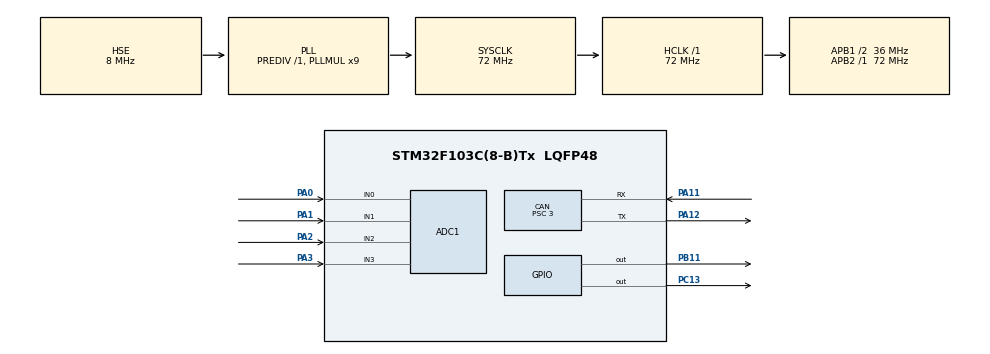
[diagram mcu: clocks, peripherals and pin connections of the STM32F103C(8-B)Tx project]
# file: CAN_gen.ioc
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ADC1.Channel-0\#ChannelRegularConversion=ADC_CHANNEL_0
ADC1.ContinuousConvMode=ENABLE
ADC1.DiscontinuousConvMode=DISABLE
ADC1.NbrOfConversion=1
ADC1.NbrOfConversionFlag=1
ADC1.Rank-0\#ChannelRegularConversion=1
ADC1.SamplingTime-0\#ChannelRegularConversion=ADC_SAMPLETIME_1CYCLE_5
ADC1.master=1
ADC2.Channel-1\#ChannelRegularConversion=ADC_CHANNEL_0
ADC2.NbrOfConversionFlag=1
ADC2.Rank-1\#ChannelRegularConversion=1
ADC2.SamplingTime-1\#ChannelRegularConversion=ADC_SAMPLETIME_1CYCLE_5
CAN.BS1=CAN_BS1_11TQ
CAN.BS2=CAN_BS2_2TQ
CAN.CalculateBaudRate=857142
CAN.CalculateTimeBit=1166
CAN.CalculateTimeQuantum=83.33333333333334
CAN.Mode=CAN_MODE_NORMAL
CAN.Prescaler=3
Mcu.Family=STM32F1
Mcu.Name=STM32F103C(8-B)Tx
Mcu.Package=LQFP48
NVIC.CAN1_RX1_IRQn=true\:0\:0\:false\:false\:true\:true\:true\:true
NVIC.CAN1_SCE_IRQn=true\:0\:0\:false\:false\:true\:true\:true\:true
NVIC.PriorityGroup=NVIC_PRIORITYGROUP_4
NVIC.USB_HP_CAN1_TX_IRQn=true\:0\:0\:false\:false\:true\:true\:true\:true
NVIC.USB_LP_CAN1_RX0_IRQn=true\:0\:0\:false\:false\:true\:true\:true\:true
PA0-WKUP.Signal=ADCx_IN0
PA1.Signal=ADCx_IN1
PA11.Mode=CAN_Activate
PA11.Signal=CAN_RX
PA12.Mode=CAN_Activate
PA12.Signal=CAN_TX
PA13.Mode=Serial_Wire
PA13.Signal=SYS_JTMS-SWDIO
PA14.Mode=Serial_Wire
PA14.Signal=SYS_JTCK-SWCLK
PA2.Signal=ADCx_IN2
PA3.Signal=ADCx_IN3
PB11.Signal=GPIO_Output
PC13-TAMPER-RTC.Signal=GPIO_Output
PD0-OSC_IN.Mode=HSE-External-Oscillator
PD0-OSC_IN.Signal=RCC_OSC_IN
PD1-OSC_OUT.Mode=HSE-External-Oscillator
PD1-OSC_OUT.Signal=RCC_OSC_OUT
ProjectManager.HeapSize=0x200
ProjectManager.StackSize=0x400
ProjectManager.TargetToolchain=STM32CubeIDE
RCC.ADCPresc=RCC_ADCPCLK2_DIV8
RCC.AHBFreq_Value=72000000
RCC.APB1CLKDivider=RCC_HCLK_DIV2
RCC.APB1Freq_Value=36000000
RCC.APB1TimFreq_Value=72000000
RCC.APB2Freq_Value=72000000
RCC.APB2TimFreq_Value=72000000
RCC.HCLKFreq_Value=72000000
RCC.PLLMUL=RCC_PLL_MUL9
RCC.PLLSourceVirtual=RCC_PLLSOURCE_HSE
RCC.SYSCLKFreq_VALUE=72000000
RCC.SYSCLKSource=RCC_SYSCLKSOURCE_PLLCLK
RCC.USBFreq_Value=72000000
SH.ADCx_IN0.0=ADC1_IN0,IN0
SH.ADCx_IN0.1=ADC2_IN0,IN0
SH.ADCx_IN1.0=ADC1_IN1,IN1
SH.ADCx_IN2.0=ADC1_IN2,IN2
SH.ADCx_IN3.0=ADC1_IN3,IN3
board=custom

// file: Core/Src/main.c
/* USER CODE BEGIN Header */
/**
  ******************************************************************************
  * @file           : main.c
  * @brief          : Main program body
  ******************************************************************************
  * @attention
  *
  * Copyright (c) 2024 STMicroelectronics.
  * All rights reserved.
  *
  * This software is licensed under terms that can be found in the LICENSE file
  * in the root directory of this software component.
  * If no LICENSE file comes with this software, it is provided AS-IS.
  *
  ******************************************************************************
  */
/* USER CODE END Header */
#include "main.h"

ADC_HandleTypeDef hadc1;
ADC_HandleTypeDef hadc2;

CAN_HandleTypeDef hcan;

/* USER CODE BEGIN PV */
CAN_TxHeaderTypeDef TxHeader;
CAN_RxHeaderTypeDef RxHeader;

uint32_t TxMailbox;
uint8_t TxData[8];
uint8_t RxData[8];

uint8_t lcd_thermistor = 1;
uint16_t msg_flag = 0x00;
int16_t adc1, adc2, adc3;
uint8_t led = 0x00;
uint8_t light_source = 0x01;
/* USER CODE END PV */

void SystemClock_Config(void);
static void MX_GPIO_Init(void);
static void MX_CAN_Init(void);
static void MX_ADC1_Init(void);
static void MX_ADC2_Init(void);
/* USER CODE BEGIN PFP */
void ADC_Select_CH0(void);
void ADC_Select_CH1(void);
void ADC_Select_CH2(void);
void ADC_Select_CH3(void);
void ADC_Read(int16_t* pValue1, int16_t* pValue2, int16_t* pValue3, int16_t* pValue4);
void ADC_Read1(int16_t* pValue1, int16_t* pValue2, int16_t* pValue3);
/* USER CODE END PFP */

int main(void)
{

  /* MCU Configuration--------------------------------------------------------*/

  /* Reset of all peripherals, Initializes the Flash interface and the Systick. */
  HAL_Init();

  /* Configure the system clock */
  SystemClock_Config();

  /* Initialize all configured peripherals */
  MX_GPIO_Init();
  MX_CAN_Init();
  MX_ADC1_Init();
  MX_ADC2_Init();
  /* USER CODE BEGIN 2 */
  CAN_FilterTypeDef canfilterconfig;

  canfilterconfig.FilterActivation = CAN_FILTER_ENABLE;
  canfilterconfig.FilterBank = 12;  // anything between 0 to SlaveStartFilterBank
  canfilterconfig.FilterFIFOAssignment = CAN_RX_FIFO0;
  //canfilterconfig.FilterIdHigh = 0x103<<5;
  canfilterconfig.FilterIdHigh = 0x0000;
  canfilterconfig.FilterIdLow = 0x0000;
  //canfilterconfig.FilterMaskIdHigh = 0x1<<13;
  canfilterconfig.FilterMaskIdHigh = 0x0;
  canfilterconfig.FilterMaskIdLow = 0x0;
  canfilterconfig.FilterMode = CAN_FILTERMODE_IDMASK;
  canfilterconfig.FilterScale = CAN_FILTERSCALE_32BIT;
  canfilterconfig.SlaveStartFilterBank = 13;  // 13 to 27 are assigned to slave CAN (CAN 2) OR 0 to 12 are assgned to CAN1

  HAL_CAN_ConfigFilter(&hcan, &canfilterconfig);
  HAL_CAN_Start(&hcan);
  HAL_CAN_ActivateNotification(
		  &hcan,
          CAN_IT_TX_MAILBOX_EMPTY |
          CAN_IT_RX_FIFO0_MSG_PENDING |
          CAN_IT_RX_FIFO0_FULL |
          CAN_IT_RX_FIFO0_OVERRUN |
          CAN_IT_RX_FIFO1_MSG_PENDING |
          CAN_IT_RX_FIFO1_FULL |
          CAN_IT_RX_FIFO1_OVERRUN |
          CAN_IT_WAKEUP |
          CAN_IT_SLEEP_ACK |
          CAN_IT_ERROR_WARNING |
          CAN_IT_ERROR_PASSIVE |
          CAN_IT_BUSOFF |
          CAN_IT_LAST_ERROR_CODE |
          CAN_IT_ERROR
  );
  /* USER CODE END 2 */

  /* Infinite loop */
  /* USER CODE BEGIN WHILE */
  //promenljive za kvazi-tajmere
  //sluze za izvrsavanje odredjenih delova koda svaki sekund bez prekidne rutine
  uint32_t now = 0, last_blink = 0, last_tx = 0;
  while (1)
  {
    /* USER CODE END WHILE */

    /* USER CODE BEGIN 3 */
	  	  now = HAL_GetTick();

	  	  if(led == 0x01) HAL_GPIO_WritePin(GPIOB, GPIO_PIN_11, GPIO_PIN_SET);
	  	  else if(led == 0x00) HAL_GPIO_WritePin(GPIOB, GPIO_PIN_11, GPIO_PIN_RESET);

	  	  if(msg_flag == 500){
	  		  //zatrezene sve analogne vrednosti i stanje diode
	  		  TxHeader.DLC = 7;
	  		  TxHeader.ExtId = 0;
	  		  TxHeader.IDE = CAN_ID_STD;
	  		  TxHeader.RTR = CAN_RTR_DATA;
	  		  TxHeader.StdId = 0x400;
	  		  TxHeader.TransmitGlobalTime = DISABLE;
	  		  TxData[0] = adc1 >> 8;
	  		  TxData[1] = adc1 & 0xFF;
	  		  TxData[2] = adc2 >> 8;
	  		  TxData[3] = adc2 & 0xFF;
	  		  TxData[4] = adc3 >> 8;
	  		  TxData[5] = adc3 & 0xFF;
	  		  TxData[6] = led;
	  		  if (HAL_CAN_AddTxMessage(&hcan, &TxHeader, TxData, &TxMailbox) != HAL_OK)
	  		  {
	  		  	Error_Handler();
	  		  }
	  		  msg_flag = 0;
	  	  }
	  	  else if(msg_flag == 501){
	  		  //zatrazena vrednost potenciometra
	  		  TxHeader.DLC = 2;
	  		  TxHeader.ExtId = 0;
	  		  TxHeader.IDE = CAN_ID_STD;
	  		  TxHeader.RTR = CAN_RTR_DATA;
	  		  TxHeader.StdId = 0x401;
	  		  TxHeader.TransmitGlobalTime = DISABLE;
	  		  TxData[0] = adc1 >> 8;
	  		  TxData[1] = adc1 & 0xFF;
	  		  if (HAL_CAN_AddTxMessage(&hcan, &TxHeader, TxData, &TxMailbox) != HAL_OK)
	  		  {
	  		  	Error_Handler();
	  		  }
	  		  msg_flag = 0;
	  	  }
	  	  else if(msg_flag == 502){
	  		  //zatrazena vrednost prvog termistora
	  		  TxHeader.DLC = 2;
	  		  TxHeader.ExtId = 0;
	  		  TxHeader.IDE = CAN_ID_STD;
	  		  TxHeader.RTR = CAN_RTR_DATA;
	  		  TxHeader.StdId = 0x402;
	  		  TxHeader.TransmitGlobalTime = DISABLE;
	  		  TxData[0] = adc2 >> 8;
	  		  TxData[1] = adc2 & 0xFF;
	  		  if (HAL_CAN_AddTxMessage(&hcan, &TxHeader, TxData, &TxMailbox) != HAL_OK)
	  		  {
	  		  	Error_Handler();
	  		  }
	  		  msg_flag = 0;
	  	  }
	  	  else if(msg_flag == 503){
	  		  //zatrazena vrednost drugog termistora
	  		  TxHeader.DLC = 2;
	  		  TxHeader.ExtId = 0;
	  		  TxHeader.IDE = CAN_ID_STD;
	  		  TxHeader.RTR = CAN_RTR_DATA;
	  		  TxHeader.StdId = 0x403;
	  		  TxHeader.TransmitGlobalTime = DISABLE;
	  		  TxData[0] = adc3 >> 8;
	  		  TxData[1] = adc3 & 0xFF;
	  		  if (HAL_CAN_AddTxMessage(&hcan, &TxHeader, TxData, &TxMailbox) != HAL_OK)
	  		  {
	  		  	Error_Handler();
	  		  }
	  		  msg_flag = 0;
	  	  }
	  	  else if(msg_flag == 504){
	  		  //zatrazeno stanje diode
	  		  TxHeader.DLC = 1;
	  		  TxHeader.ExtId = 0;
	  		  TxHeader.IDE = CAN_ID_STD;
	  		  TxHeader.RTR = CAN_RTR_DATA;
	  		  TxHeader.StdId = 0x404;
	  		  TxHeader.TransmitGlobalTime = DISABLE;
	  		  TxData[0] = led;
	  		  if (HAL_CAN_AddTxMessage(&hcan, &TxHeader, TxData, &TxMailbox) != HAL_OK)
	  		  {
	  		  	Error_Handler();
	  		  }
	  		  msg_flag = 0;
	  	  }

	  	  if (now - last_tx >= 1000) {
	  		  //poruka koja se salje svaki sekund
	  		  //salje se vrednost potenciometra jednog od 2 termistora

	  		  //ako se izvor svetlosti podesi na termistore onda se salje
	  		  //vrednost oba termistora a potenciometar se izostavlja

	  		  ADC_Read1(&adc1, &adc2, &adc3);//proveri sve ADC vrednosti

	  		  if(msg_flag == 0){
	  			  TxHeader.DLC = 4;
	  			  TxHeader.ExtId = 0;
	  			  TxHeader.IDE = CAN_ID_STD;
	  			  TxHeader.RTR = CAN_RTR_DATA;
	  			  TxHeader.StdId = 0x605;
	  			  TxHeader.TransmitGlobalTime = DISABLE;
	  			  if(light_source == 0x01){
	  				  TxData[0] = adc1 >> 8; //posalji prvih 8 bita
	  				  TxData[1] = adc1 & 0xFF; //posalji zadnjih
	  				  if(lcd_thermistor == 1){
		  				  TxData[2] = adc2 >> 8; //posalji prvih 8 bita
		  				  TxData[3] = adc2 & 0xFF; //posalji zadnjih
		  			  }
		  			  else if(lcd_thermistor == 2){
		  				  TxData[2] = adc3 >> 8; //posalji prvih 8 bita
		  				  TxData[3] = adc3 & 0xFF; //posalji zadnjih
		  			  }
	  			  }
	  			  else{
	  				  TxData[0] = adc2 >> 8; //posalji prvih 8 bita
	  				  TxData[1] = adc2 & 0xFF; //posalji zadnjih
	  				  TxData[2] = adc3 >> 8;
	  				  TxData[3] = adc3 & 0xFF;
	  			  }
	  			  if (HAL_CAN_AddTxMessage(&hcan, &TxHeader, TxData, &TxMailbox) != HAL_OK)
	  			  {
	  				  Error_Handler();
	  			  }
	  		  }

	  	      last_tx = now;
	  	  }

	  	  if (now - last_blink >= 500) {
	  		  last_blink = now;
	  	  }
	    }
  /* USER CODE END 3 */
}

void SystemClock_Config(void)
{
  RCC_OscInitTypeDef RCC_OscInitStruct = {0};
  RCC_ClkInitTypeDef RCC_ClkInitStruct = {0};
  RCC_PeriphCLKInitTypeDef PeriphClkInit = {0};

  /** Initializes the RCC Oscillators according to the specified parameters
  * in the RCC_OscInitTypeDef structure.
  */
  RCC_OscInitStruct.OscillatorType = RCC_OSCILLATORTYPE_HSE;
  RCC_OscInitStruct.HSEState = RCC_HSE_ON;
  RCC_OscInitStruct.HSEPredivValue = RCC_HSE_PREDIV_DIV1;
  RCC_OscInitStruct.HSIState = RCC_HSI_ON;
  RCC_OscInitStruct.PLL.PLLState = RCC_PLL_ON;
  RCC_OscInitStruct.PLL.PLLSource = RCC_PLLSOURCE_HSE;
  RCC_OscInitStruct.PLL.PLLMUL = RCC_PLL_MUL9;
  if (HAL_RCC_OscConfig(&RCC_OscInitStruct) != HAL_OK)
  {
    Error_Handler();
  }

  /** Initializes the CPU, AHB and APB buses clocks
  */
  RCC_ClkInitStruct.ClockType = RCC_CLOCKTYPE_HCLK|RCC_CLOCKTYPE_SYSCLK
                              |RCC_CLOCKTYPE_PCLK1|RCC_CLOCKTYPE_PCLK2;
  RCC_ClkInitStruct.SYSCLKSource = RCC_SYSCLKSOURCE_PLLCLK;
  RCC_ClkInitStruct.AHBCLKDivider = RCC_SYSCLK_DIV1;
  RCC_ClkInitStruct.APB1CLKDivider = RCC_HCLK_DIV2;
  RCC_ClkInitStruct.APB2CLKDivider = RCC_HCLK_DIV1;

  if (HAL_RCC_ClockConfig(&RCC_ClkInitStruct, FLASH_LATENCY_2) != HAL_OK)
  {
    Error_Handler();
  }
  PeriphClkInit.PeriphClockSelection = RCC_PERIPHCLK_ADC;
  PeriphClkInit.AdcClockSelection = RCC_ADCPCLK2_DIV8;
  if (HAL_RCCEx_PeriphCLKConfig(&PeriphClkInit) != HAL_OK)
  {
    Error_Handler();
  }
}

static void MX_ADC1_Init(void)
{

  ADC_ChannelConfTypeDef sConfig = {0};

  /** Common config
  */
  hadc1.Instance = ADC1;
  hadc1.Init.ScanConvMode = ADC_SCAN_DISABLE;
  hadc1.Init.ContinuousConvMode = ENABLE;
  hadc1.Init.DiscontinuousConvMode = DISABLE;
  hadc1.Init.ExternalTrigConv = ADC_SOFTWARE_START;
  hadc1.Init.DataAlign = ADC_DATAALIGN_RIGHT;
  hadc1.Init.NbrOfConversion = 1;
  if (HAL_ADC_Init(&hadc1) != HAL_OK)
  {
    Error_Handler();
  }

  /** Configure Regular Channel
  */
  sConfig.Channel = ADC_CHANNEL_0;
  sConfig.Rank = ADC_REGULAR_RANK_1;
  sConfig.SamplingTime = ADC_SAMPLETIME_1CYCLE_5;
  if (HAL_ADC_ConfigChannel(&hadc1, &sConfig) != HAL_OK)
  {
    Error_Handler();
  }

}

static void MX_ADC2_Init(void)
{

  ADC_ChannelConfTypeDef sConfig = {0};

  /** Common config
  */
  hadc2.Instance = ADC2;
  hadc2.Init.ScanConvMode = ADC_SCAN_DISABLE;
  hadc2.Init.ContinuousConvMode = DISABLE;
  hadc2.Init.DiscontinuousConvMode = DISABLE;
  hadc2.Init.ExternalTrigConv = ADC_SOFTWARE_START;
  hadc2.Init.DataAlign = ADC_DATAALIGN_RIGHT;
  hadc2.Init.NbrOfConversion = 1;
  if (HAL_ADC_Init(&hadc2) != HAL_OK)
  {
    Error_Handler();
  }

  /** Configure Regular Channel
  */
  sConfig.Channel = ADC_CHANNEL_0;
  sConfig.Rank = ADC_REGULAR_RANK_1;
  sConfig.SamplingTime = ADC_SAMPLETIME_1CYCLE_5;
  if (HAL_ADC_ConfigChannel(&hadc2, &sConfig) != HAL_OK)
  {
    Error_Handler();
  }

}

static void MX_CAN_Init(void)
{

  hcan.Instance = CAN1;
  hcan.Init.Prescaler = 3;
  hcan.Init.Mode = CAN_MODE_NORMAL;
  hcan.Init.SyncJumpWidth = CAN_SJW_1TQ;
  hcan.Init.TimeSeg1 = CAN_BS1_11TQ;
  hcan.Init.TimeSeg2 = CAN_BS2_2TQ;
  hcan.Init.TimeTriggeredMode = DISABLE;
  hcan.Init.AutoBusOff = DISABLE;
  hcan.Init.AutoWakeUp = DISABLE;
  hcan.Init.AutoRetransmission = DISABLE;
  hcan.Init.ReceiveFifoLocked = DISABLE;
  hcan.Init.TransmitFifoPriority = DISABLE;
  if (HAL_CAN_Init(&hcan) != HAL_OK)
  {
    Error_Handler();
  }

}

static void MX_GPIO_Init(void)
{
  GPIO_InitTypeDef GPIO_InitStruct = {0};

  /* GPIO Ports Clock Enable */
  __HAL_RCC_GPIOC_CLK_ENABLE();
  __HAL_RCC_GPIOD_CLK_ENABLE();
  __HAL_RCC_GPIOA_CLK_ENABLE();
  __HAL_RCC_GPIOB_CLK_ENABLE();

  /*Configure GPIO pin Output Level */
  HAL_GPIO_WritePin(GPIOC, GPIO_PIN_13, GPIO_PIN_RESET);

  /*Configure GPIO pin Output Level */
  HAL_GPIO_WritePin(GPIOB, GPIO_PIN_11, GPIO_PIN_RESET);

  /*Configure GPIO pin : PC13 */
  GPIO_InitStruct.Pin = GPIO_PIN_13;
  GPIO_InitStruct.Mode = GPIO_MODE_OUTPUT_PP;
  GPIO_InitStruct.Pull = GPIO_NOPULL;
  GPIO_InitStruct.Speed = GPIO_SPEED_FREQ_LOW;
  HAL_GPIO_Init(GPIOC, &GPIO_InitStruct);

  /*Configure GPIO pin : PB11 */
  GPIO_InitStruct.Pin = GPIO_PIN_11;
  GPIO_InitStruct.Mode = GPIO_MODE_OUTPUT_PP;
  GPIO_InitStruct.Pull = GPIO_NOPULL;
  GPIO_InitStruct.Speed = GPIO_SPEED_FREQ_LOW;
  HAL_GPIO_Init(GPIOB, &GPIO_InitStruct);

}

/* USER CODE BEGIN 4 */
void ADC_Select_CH0 (void)
{
	//odabir kanala 0 za AD konverziju
	ADC_ChannelConfTypeDef sConfig = {0};
	sConfig.Channel = ADC_CHANNEL_0;
	sConfig.Rank = 1;
	sConfig.SamplingTime = ADC_SAMPLETIME_1CYCLE_5;
	if (HAL_ADC_ConfigChannel(&hadc1, &sConfig) != HAL_OK)
	{
		Error_Handler();
	}
}

void ADC_Select_CH1 (void)
{
	ADC_ChannelConfTypeDef sConfig = {0};
	sConfig.Channel = ADC_CHANNEL_1;
	sConfig.Rank = 1;
	sConfig.SamplingTime = ADC_SAMPLETIME_1CYCLE_5;
	if (HAL_ADC_ConfigChannel(&hadc1, &sConfig) != HAL_OK)
	{
		Error_Handler();
	}
}

void ADC_Select_CH2 (void)
{
	ADC_ChannelConfTypeDef sConfig = {0};
	  /** Configure for the selected ADC regular channel its corresponding rank in the sequencer and its sample time.
	  */
	  sConfig.Channel = ADC_CHANNEL_2;
	  sConfig.Rank = 1;
	  sConfig.SamplingTime = ADC_SAMPLETIME_1CYCLE_5;
	  if (HAL_ADC_ConfigChannel(&hadc1, &sConfig) != HAL_OK)
	  {
	    Error_Handler();
	  }
}

void ADC_Select_CH3 (void)
{
	ADC_ChannelConfTypeDef sConfig = {0};
	  /** Configure for the selected ADC regular channel its corresponding rank in the sequencer and its sample time.
	  */
	  sConfig.Channel = ADC_CHANNEL_3;
	  sConfig.Rank = 1;
	  sConfig.SamplingTime = ADC_SAMPLETIME_1CYCLE_5;
	  if (HAL_ADC_ConfigChannel(&hadc1, &sConfig) != HAL_OK)
	  {
	    Error_Handler();
	  }
}

void HAL_CAN_RxFifo0MsgPendingCallback(CAN_HandleTypeDef *hcan)
{
	//na osnovu pristiglog zahteva za podatke postavi se odgovarajuci flag
	//flag odredjuje koja poruka se salje u glavnoj petlji
    if (HAL_CAN_GetRxMessage(hcan, CAN_RX_FIFO0, &RxHeader, RxData) == HAL_OK) {
    	HAL_GPIO_TogglePin(GPIOC, GPIO_PIN_13);
    	if(RxHeader.StdId == 0x301){
    		//postavi izvor svetlosti na trazeni
    		light_source = RxData[0];
    	}
    	if(RxHeader.StdId == 0x302){
    		//postavi izvor svetlosti na trazeni
    		led = RxData[0];
    	}
    	else if(RxHeader.StdId == 0x500)
    	{
    		msg_flag = 500;
    	}
    	else if(RxHeader.StdId == 0x501)
    	{
    		msg_flag = 501;
    	}
    	else if(RxHeader.StdId == 0x502)
    	{
    		msg_flag = 502;
    	}
    	else if(RxHeader.StdId == 0x503)
    	{
    		msg_flag = 503;
    	}
    	else if(RxHeader.StdId == 0x504)
    	{
    		msg_flag = 504;
    	}
    	else if(RxHeader.StdId == 0x601){
    		lcd_thermistor = 1;
    	}
    	else if(RxHeader.StdId == 0x602){
    		lcd_thermistor = 2;
    	}
    }
}

void ADC_Read(int16_t* pValue1, int16_t* pValue2, int16_t* pValue3, int16_t* pValue4) {
	if (HAL_ADC_PollForConversion(&hadc1, 100) == HAL_OK) {
		*pValue1 = HAL_ADC_GetValue(&hadc1); // Read first channel value
	    // Poll again to ensure the second channel conversion is complete
	    if (HAL_ADC_PollForConversion(&hadc1, 100) == HAL_OK) {
	    	*pValue2 = HAL_ADC_GetValue(&hadc1); // Read second channel value
	        // Poll again to ensure the third channel conversion is complete
	        if (HAL_ADC_PollForConversion(&hadc1, 100) == HAL_OK) {
	        	*pValue3 = HAL_ADC_GetValue(&hadc1); // Read second channel value
	            //Poll again to ensure the fourth channel conversion is complete
	            if (HAL_ADC_PollForConversion(&hadc1, 100) == HAL_OK) {
	            	*pValue4 = HAL_ADC_GetValue(&hadc1); // Read second channel value
	            }
	        }
	    }
	}
}

//funkcija za citanje svih analognih vrednosti
void ADC_Read1(int16_t* pValue1, int16_t* pValue2, int16_t* pValue3) {
	ADC_Select_CH0();
	HAL_ADC_Start(&hadc1);
	HAL_ADC_PollForConversion(&hadc1, 1000);
	*pValue1 = HAL_ADC_GetValue(&hadc1);
	HAL_ADC_Stop(&hadc1);

	ADC_Select_CH1();
	HAL_ADC_Start(&hadc1);
	HAL_ADC_PollForConversion(&hadc1, 1000);
	*pValue2 = HAL_ADC_GetValue(&hadc1);
	HAL_ADC_Stop(&hadc1);

	ADC_Select_CH2();
	HAL_ADC_Start(&hadc1);
	HAL_ADC_PollForConversion(&hadc1, 1000);
	*pValue3 = HAL_ADC_GetValue(&hadc1);
	HAL_ADC_Stop(&hadc1);

	HAL_ADC_Start(&hadc2);
	HAL_ADC_PollForConversion(&hadc2, 1000);
	*pValue1 = HAL_ADC_GetValue(&hadc2);
	HAL_ADC_Stop(&hadc2);
}
/* USER CODE END 4 */

void Error_Handler(void)
{
  __disable_irq();
  while (1)
  {
  }
}
